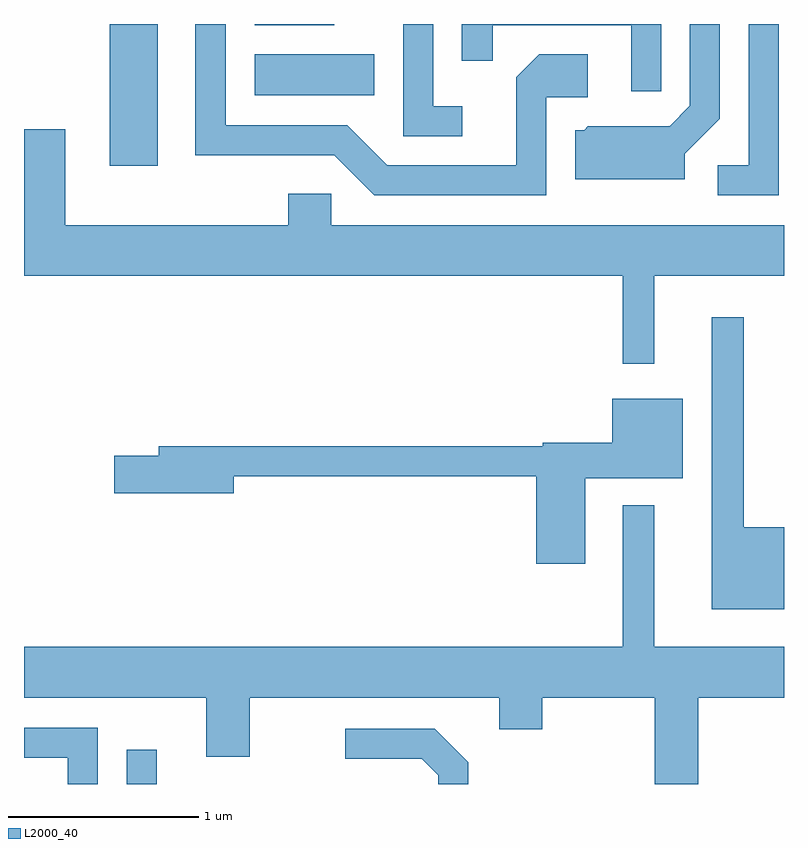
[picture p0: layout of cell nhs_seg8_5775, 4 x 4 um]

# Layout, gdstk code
import gdstk
lib = gdstk.Library(unit=1e-6, precision=1e-09)
def R(c, l, rs):  # rectangles x0, y0, x1, y1
    for r in rs: c.add(gdstk.rectangle(r[:2], r[2:], *l))
def P(c, l, *ps):  # polygons
    for p in ps: c.add(gdstk.Polygon(p, *l))
L2000_40 = (2000, 40)

nhs_seg8_5775 = lib.new_cell('nhs_seg8_5775')
R(nhs_seg8_5775, L2000_40, [(358.151,1900.342,358.309,1900.523), (358.061,1903.596,358.314,1904.342), (358.826,1903.966,359.454,1904.184), (358.826,1904.336,359.244,1904.342)])
P(nhs_seg8_5775, L2000_40, [(360.359,1903.956),(360.579,1903.956),(360.579,1904.184),(360.324,1904.184),(360.201,1904.062),(360.201,1903.599),(359.522,1903.599),(359.312,1903.809),(358.674,1903.809),(358.674,1904.342),(358.511,1904.342),(358.511,1903.651),(359.244,1903.651),(359.454,1903.441),(360.359,1903.441)],
  [(361.089,1903.659),(361.274,1903.844),(361.274,1904.342),(361.116,1904.342),(361.116,1903.912),(361.009,1903.804),(360.579,1903.804),(360.559,1903.784),(360.511,1903.784),(360.511,1903.526),(361.089,1903.526)],
  [(359.918,1903.909),(359.764,1903.909),(359.764,1904.342),(359.606,1904.342),(359.606,1903.751),(359.918,1903.751)],
  [(361.584,1904.342),(361.426,1904.342),(361.426,1903.599),(361.263,1903.599),(361.263,1903.441),(361.584,1903.441)],
  [(360.964,1904.342),(359.916,1904.342),(359.916,1904.148),(360.079,1904.148),(360.079,1904.336),(360.806,1904.336),(360.806,1903.988),(360.964,1903.988)],
  [(360.929,1903.016),(361.611,1903.016),(361.611,1903.284),(359.229,1903.284),(359.229,1903.449),(359.001,1903.449),(359.001,1903.284),(357.829,1903.284),(357.829,1903.789),(357.611,1903.789),(357.611,1903.016),(360.761,1903.016),(360.761,1902.553),(360.929,1902.553)],
  [(361.611,1901.694),(361.399,1901.694),(361.399,1902.798),(361.231,1902.798),(361.231,1901.261),(361.611,1901.261)],
  [(360.564,1901.951),(361.079,1901.951),(361.079,1902.369),(360.706,1902.369),(360.706,1902.139),(360.341,1902.139),(360.341,1902.119),(358.321,1902.119),(358.321,1902.069),(358.086,1902.069),(358.086,1901.871),(358.714,1901.871),(358.714,1901.961),(360.306,1901.961),(360.306,1901.501),(360.564,1901.501)],
  [(361.159,1900.796),(361.611,1900.796),(361.611,1901.064),(360.929,1901.064),(360.929,1901.808),(360.761,1901.808),(360.761,1901.064),(357.611,1901.064),(357.611,1900.796),(358.571,1900.796),(358.571,1900.486),(358.799,1900.486),(358.799,1900.796),(360.111,1900.796),(360.111,1900.631),(360.339,1900.631),(360.339,1900.796),(360.931,1900.796),(360.931,1900.342),(361.159,1900.342)],
  [(357.999,1900.639),(357.611,1900.639),(357.611,1900.481),(357.841,1900.481),(357.841,1900.342),(357.999,1900.342)],
  [(359.949,1900.457),(359.772,1900.634),(359.303,1900.634),(359.303,1900.476),(359.704,1900.476),(359.791,1900.389),(359.791,1900.342),(359.949,1900.342)])

lib.write_gds('nhs_seg8_5775.gds')
